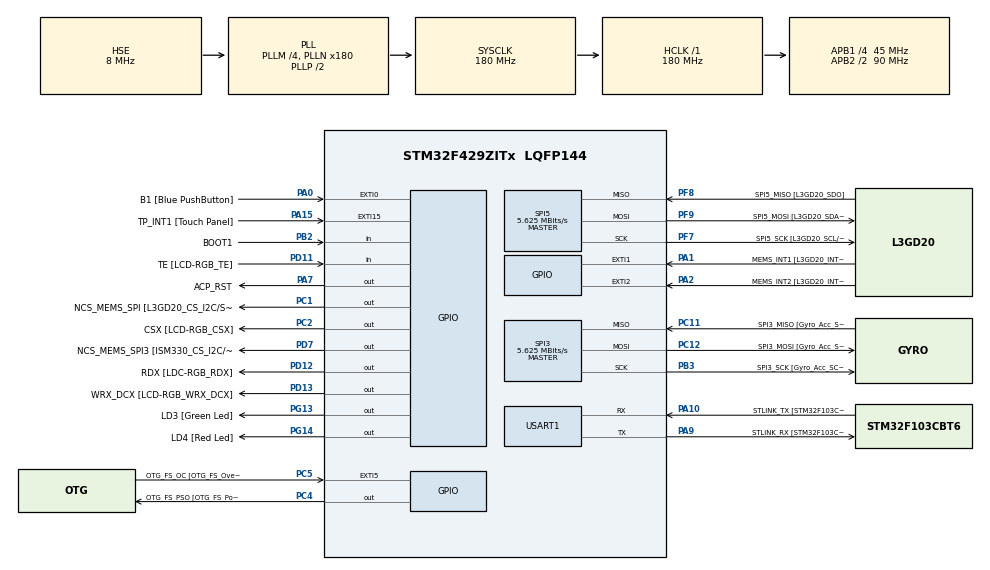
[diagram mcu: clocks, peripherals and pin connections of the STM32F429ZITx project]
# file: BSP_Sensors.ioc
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Mcu.Family=STM32F4
Mcu.Name=STM32F429ZITx
Mcu.Package=LQFP144
NVIC.PriorityGroup=NVIC_PRIORITYGROUP_0
NVIC.TIM6_DAC_IRQn=true\:0\:0\:false\:false\:true\:true\:true\:true
PA0/WKUP.GPIO_Label=B1 [Blue PushButton]
PA0/WKUP.GPIO_ModeDefaultEXTI=GPIO_MODE_EVT_RISING
PA0/WKUP.GPIO_PuPd=GPIO_NOPULL
PA0/WKUP.Signal=GPXTI0
PA1.GPIO_Label=MEMS_INT1 [L3GD20_INT1]
PA1.GPIO_ModeDefaultEXTI=GPIO_MODE_EVT_RISING
PA1.GPIO_PuPd=GPIO_NOPULL
PA1.Signal=GPXTI1
PA10.GPIO_Label=STLINK_TX [STM32F103CBT6_PA2]
PA10.GPIO_Speed=GPIO_SPEED_FREQ_LOW
PA10.Mode=Asynchronous
PA10.Signal=USART1_RX
PA11.GPIO_Label=R4
PA11.GPIO_Mode=GPIO_MODE_AF_PP
PA11.GPIO_PuPd=GPIO_NOPULL
PA11.GPIO_Speed=GPIO_SPEED_FREQ_LOW
PA11.Signal=LTDC_R4
PA12.GPIO_Label=R5
PA12.GPIO_Mode=GPIO_MODE_AF_PP
PA12.GPIO_PuPd=GPIO_NOPULL
PA12.GPIO_Speed=GPIO_SPEED_FREQ_LOW
PA12.Signal=LTDC_R5
PA13.GPIO_Label=SWDIO
PA13.Signal=SYS_JTMS-SWDIO
PA14.GPIO_Label=SWCLK
PA14.Signal=SYS_JTCK-SWCLK
PA15.GPIO_Label=TP_INT1 [Touch Panel]
PA15.GPIO_ModeDefaultEXTI=GPIO_MODE_EVT_RISING
PA15.GPIO_PuPd=GPIO_NOPULL
PA15.Signal=GPXTI15
PA2.GPIO_Label=MEMS_INT2 [L3GD20_INT2]
PA2.GPIO_ModeDefaultEXTI=GPIO_MODE_EVT_RISING
PA2.GPIO_PuPd=GPIO_NOPULL
PA2.Signal=GPXTI2
PA3.GPIO_Label=B5
PA3.GPIO_Mode=GPIO_MODE_AF_PP
PA3.GPIO_PuPd=GPIO_NOPULL
PA3.GPIO_Speed=GPIO_SPEED_FREQ_LOW
PA3.Signal=LTDC_B5
PA4.GPIO_Label=VSYNC
PA4.GPIO_Mode=GPIO_MODE_AF_PP
PA4.GPIO_PuPd=GPIO_NOPULL
PA4.GPIO_Speed=GPIO_SPEED_FREQ_LOW
PA4.Signal=LTDC_VSYNC
PA6.GPIO_Label=G2
PA6.GPIO_Mode=GPIO_MODE_AF_PP
PA6.GPIO_PuPd=GPIO_NOPULL
PA6.GPIO_Speed=GPIO_SPEED_FREQ_LOW
PA6.Signal=LTDC_G2
PA7.GPIO_Label=ACP_RST
PA7.GPIO_Mode=GPIO_MODE_OUTPUT_PP
PA7.GPIO_PuPd=GPIO_NOPULL
PA7.GPIO_Speed=GPIO_SPEED_FREQ_LOW
PA7.Signal=GPIO_Output
PA8.GPIO_Label=I2C3_SCL [ACP/RF_SCL]
PA8.GPIO_Mode=GPIO_MODE_AF_OD
PA8.GPIO_PuPd=GPIO_NOPULL
PA8.GPIO_Speed=GPIO_SPEED_FREQ_LOW
PA8.Signal=I2C3_SCL
PA9.GPIO_Label=STLINK_RX [STM32F103CBT6_PA3]
PA9.GPIO_Speed=GPIO_SPEED_FREQ_LOW
PA9.Mode=Asynchronous
PA9.Signal=USART1_TX
PB0.GPIO_Label=R3
PB0.GPIO_Mode=GPIO_MODE_AF_PP
PB0.GPIO_PuPd=GPIO_NOPULL
PB0.GPIO_Speed=GPIO_SPEED_FREQ_LOW
PB0.Signal=LTDC_R3
PB1.GPIO_Label=R6
PB1.GPIO_Mode=GPIO_MODE_AF_PP
PB1.GPIO_PuPd=GPIO_NOPULL
PB1.GPIO_Speed=GPIO_SPEED_FREQ_LOW
PB1.Signal=LTDC_R6
PB10.GPIO_Label=G4
PB10.GPIO_Mode=GPIO_MODE_AF_PP
PB10.GPIO_PuPd=GPIO_NOPULL
PB10.GPIO_Speed=GPIO_SPEED_FREQ_LOW
PB10.Signal=LTDC_G4
PB11.GPIO_Label=G5
PB11.GPIO_Mode=GPIO_MODE_AF_PP
PB11.GPIO_PuPd=GPIO_NOPULL
PB11.GPIO_Speed=GPIO_SPEED_FREQ_LOW
PB11.Signal=LTDC_G5
PB12.GPIO_Label=OTG_HS_ID
PB12.GPIO_Mode=GPIO_MODE_AF_PP
PB12.GPIO_PuPd=GPIO_NOPULL
PB12.GPIO_Speed=GPIO_SPEED_FREQ_LOW
PB12.Signal=USB_OTG_HS_ID
PB13.GPIO_Label=VBUS_HS
PB13.GPIO_Mode=GPIO_MODE_INPUT
PB13.GPIO_PuPd=GPIO_NOPULL
PB13.Signal=USB_OTG_HS_VBUS
PB14.GPIO_Label=OTG_HS_DM
PB14.GPIO_Mode=GPIO_MODE_AF_PP
PB14.GPIO_PuPd=GPIO_NOPULL
PB14.GPIO_Speed=GPIO_SPEED_FREQ_LOW
PB14.Signal=USB_OTG_HS_DM
PB15.GPIO_Label=OTG_HS_DP
PB15.GPIO_Mode=GPIO_MODE_AF_PP
PB15.GPIO_PuPd=GPIO_NOPULL
PB15.GPIO_Speed=GPIO_SPEED_FREQ_LOW
PB15.Signal=USB_OTG_HS_DP
PB2/BOOT1.GPIO_Label=BOOT1
PB2/BOOT1.GPIO_Mode=GPIO_MODE_INPUT
PB2/BOOT1.GPIO_PuPd=GPIO_NOPULL
PB2/BOOT1.Signal=GPIO_Input
PB3.GPIO_Label=SPI3_SCK [Gyro_Acc_SCL]
PB3.GPIO_Speed=GPIO_SPEED_FREQ_LOW
PB3.Mode=Full_Duplex_Master
PB3.Signal=SPI3_SCK
PB5.GPIO_Label=SDCKE1
PB5.GPIO_Mode=GPIO_MODE_AF_PP
PB5.GPIO_PuPd=GPIO_NOPULL
PB5.GPIO_Speed=GPIO_SPEED_FREQ_VERY_HIGH
PB5.Signal=FMC_SDCKE1
PB6.GPIO_Label=SDNE1 [SDRAM_CS]
PB6.GPIO_Mode=GPIO_MODE_AF_PP
PB6.GPIO_PuPd=GPIO_NOPULL
PB6.GPIO_Speed=GPIO_SPEED_FREQ_VERY_HIGH
PB6.Signal=FMC_SDNE1
PB8.GPIO_Label=B6
PB8.GPIO_Mode=GPIO_MODE_AF_PP
PB8.GPIO_PuPd=GPIO_NOPULL
PB8.GPIO_Speed=GPIO_SPEED_FREQ_LOW
PB8.Signal=LTDC_B6
PB9.GPIO_Label=B7
PB9.GPIO_Mode=GPIO_MODE_AF_PP
PB9.GPIO_PuPd=GPIO_NOPULL
PB9.GPIO_Speed=GPIO_SPEED_FREQ_LOW
PB9.Signal=LTDC_B7
PC0.GPIO_Label=SDNWE
PC0.GPIO_Mode=GPIO_MODE_AF_PP
PC0.GPIO_PuPd=GPIO_NOPULL
PC0.GPIO_Speed=GPIO_SPEED_FREQ_VERY_HIGH
PC0.Signal=FMC_SDNWE
PC1.GPIO_Label=NCS_MEMS_SPI [L3GD20_CS_I2C/SPI]
PC1.GPIO_Mode=GPIO_MODE_OUTPUT_PP
PC1.GPIO_PuPd=GPIO_NOPULL
PC1.GPIO_Speed=GPIO_SPEED_FREQ_LOW
PC1.PinState=GPIO_PIN_SET
PC1.Signal=GPIO_Output
PC10.GPIO_Label=R2
PC10.GPIO_Mode=GPIO_MODE_AF_PP
PC10.GPIO_PuPd=GPIO_NOPULL
PC10.GPIO_Speed=GPIO_SPEED_FREQ_LOW
PC10.Signal=LTDC_R2
PC11.GPIO_Label=SPI3_MISO [Gyro_Acc_SDO]
PC11.GPIO_Speed=GPIO_SPEED_FREQ_LOW
PC11.Mode=Full_Duplex_Master
PC11.Signal=SPI3_MISO
PC12.GPIO_Label=SPI3_MOSI [Gyro_Acc_SDA/SDI/SDO]
PC12.GPIO_Speed=GPIO_SPEED_FREQ_LOW
PC12.Mode=Full_Duplex_Master
PC12.Signal=SPI3_MOSI
PC14/OSC32_IN.GPIO_Label=PC14-OSC32_IN
PC14/OSC32_IN.Signal=RCC_OSC32_IN
PC15/OSC32_OUT.GPIO_Label=PC15-OSC32_OUT
PC15/OSC32_OUT.Signal=RCC_OSC32_OUT
PC2.GPIO_Label=CSX [LCD-RGB_CSX]
PC2.GPIO_Mode=GPIO_MODE_OUTPUT_PP
PC2.GPIO_PuPd=GPIO_NOPULL
PC2.GPIO_Speed=GPIO_SPEED_FREQ_LOW
PC2.Signal=GPIO_Output
PC4.GPIO_Label=OTG_FS_PSO [OTG_FS_PowerSwitchOn]
PC4.GPIO_Mode=GPIO_MODE_OUTPUT_PP
PC4.GPIO_PuPd=GPIO_NOPULL
PC4.GPIO_Speed=GPIO_SPEED_FREQ_LOW
PC4.Signal=GPIO_Output
PC5.GPIO_Label=OTG_FS_OC [OTG_FS_OverCurrent]
PC5.GPIO_ModeDefaultEXTI=GPIO_MODE_EVT_RISING
PC5.Signal=GPXTI5
PC6.GPIO_Label=HSYNC
PC6.GPIO_Mode=GPIO_MODE_AF_PP
PC6.GPIO_PuPd=GPIO_NOPULL
PC6.GPIO_Speed=GPIO_SPEED_FREQ_LOW
PC6.Signal=LTDC_HSYNC
PC7.GPIO_Label=G6
PC7.GPIO_Mode=GPIO_MODE_AF_PP
PC7.GPIO_PuPd=GPIO_NOPULL
PC7.GPIO_Speed=GPIO_SPEED_FREQ_LOW
PC7.Signal=LTDC_G6
PC9.GPIO_Label=I2C3_SDA [ACP/RF_SDA]
PC9.GPIO_Mode=GPIO_MODE_AF_OD
PC9.GPIO_PuPd=GPIO_NOPULL
PC9.GPIO_Speed=GPIO_SPEED_FREQ_LOW
PC9.Signal=I2C3_SDA
PD0.GPIO_Label=D2
PD0.GPIO_Mode=GPIO_MODE_AF_PP
PD0.GPIO_PuPd=GPIO_NOPULL
PD0.GPIO_Speed=GPIO_SPEED_FREQ_VERY_HIGH
PD0.Signal=FMC_D2_DA2
PD1.GPIO_Label=D3
PD1.GPIO_Mode=GPIO_MODE_AF_PP
PD1.GPIO_PuPd=GPIO_NOPULL
PD1.GPIO_Speed=GPIO_SPEED_FREQ_VERY_HIGH
PD1.Signal=FMC_D3_DA3
PD10.GPIO_Label=D15
PD10.GPIO_Mode=GPIO_MODE_AF_PP
PD10.GPIO_PuPd=GPIO_NOPULL
PD10.GPIO_Speed=GPIO_SPEED_FREQ_VERY_HIGH
PD10.Signal=FMC_D15_DA15
PD11.GPIO_Label=TE [LCD-RGB_TE]
PD11.GPIO_Mode=GPIO_MODE_INPUT
PD11.GPIO_PuPd=GPIO_NOPULL
PD11.Signal=GPIO_Input
PD12.GPIO_Label=RDX [LDC-RGB_RDX]
PD12.GPIO_Mode=GPIO_MODE_OUTPUT_PP
PD12.GPIO_PuPd=GPIO_NOPULL
PD12.GPIO_Speed=GPIO_SPEED_FREQ_LOW
PD12.Signal=GPIO_Output
PD13.GPIO_Label=WRX_DCX [LCD-RGB_WRX_DCX]
PD13.GPIO_Mode=GPIO_MODE_OUTPUT_PP
PD13.GPIO_PuPd=GPIO_NOPULL
PD13.GPIO_Speed=GPIO_SPEED_FREQ_LOW
PD13.Signal=GPIO_Output
PD14.GPIO_Label=D0
PD14.GPIO_Mode=GPIO_MODE_AF_PP
PD14.GPIO_PuPd=GPIO_NOPULL
PD14.GPIO_Speed=GPIO_SPEED_FREQ_VERY_HIGH
PD14.Signal=FMC_D0_DA0
PD15.GPIO_Label=D1
PD15.GPIO_Mode=GPIO_MODE_AF_PP
PD15.GPIO_PuPd=GPIO_NOPULL
PD15.GPIO_Speed=GPIO_SPEED_FREQ_VERY_HIGH
PD15.Signal=FMC_D1_DA1
PD3.GPIO_Label=G7
PD3.GPIO_Mode=GPIO_MODE_AF_PP
PD3.GPIO_PuPd=GPIO_NOPULL
PD3.GPIO_Speed=GPIO_SPEED_FREQ_LOW
PD3.Signal=LTDC_G7
PD6.GPIO_Label=B2
PD6.GPIO_Mode=GPIO_MODE_AF_PP
PD6.GPIO_PuPd=GPIO_NOPULL
PD6.GPIO_Speed=GPIO_SPEED_FREQ_LOW
PD6.Signal=LTDC_B2
PD7.GPIO_Label=NCS_MEMS_SPI3 [ISM330_CS_I2C/SPI]
PD7.GPIO_Speed=GPIO_SPEED_FREQ_LOW
PD7.PinState=GPIO_PIN_SET
PD7.Signal=GPIO_Output
PD8.GPIO_Label=D13
PD8.GPIO_Mode=GPIO_MODE_AF_PP
PD8.GPIO_PuPd=GPIO_NOPULL
PD8.GPIO_Speed=GPIO_SPEED_FREQ_VERY_HIGH
PD8.Signal=FMC_D13_DA13
PD9.GPIO_Label=D14
PD9.GPIO_Mode=GPIO_MODE_AF_PP
PD9.GPIO_PuPd=GPIO_NOPULL
PD9.GPIO_Speed=GPIO_SPEED_FREQ_VERY_HIGH
PD9.Signal=FMC_D14_DA14
PE0.GPIO_Label=NBL0 [SDRAM_LDQM]
PE0.GPIO_Mode=GPIO_MODE_AF_PP
PE0.GPIO_PuPd=GPIO_NOPULL
PE0.GPIO_Speed=GPIO_SPEED_FREQ_VERY_HIGH
PE0.Signal=FMC_NBL0
PE1.GPIO_Label=NBL1 [SDRAM_UDQM]
PE1.GPIO_Mode=GPIO_MODE_AF_PP
PE1.GPIO_PuPd=GPIO_NOPULL
PE1.GPIO_Speed=GPIO_SPEED_FREQ_VERY_HIGH
PE1.Signal=FMC_NBL1
PE10.GPIO_Label=D7
PE10.GPIO_Mode=GPIO_MODE_AF_PP
PE10.GPIO_PuPd=GPIO_NOPULL
PE10.GPIO_Speed=GPIO_SPEED_FREQ_VERY_HIGH
PE10.Signal=FMC_D7_DA7
PE11.GPIO_Label=D8
PE11.GPIO_Mode=GPIO_MODE_AF_PP
PE11.GPIO_PuPd=GPIO_NOPULL
PE11.GPIO_Speed=GPIO_SPEED_FREQ_VERY_HIGH
PE11.Signal=FMC_D8_DA8
PE12.GPIO_Label=D9
PE12.GPIO_Mode=GPIO_MODE_AF_PP
PE12.GPIO_PuPd=GPIO_NOPULL
PE12.GPIO_Speed=GPIO_SPEED_FREQ_VERY_HIGH
PE12.Signal=FMC_D9_DA9
PE13.GPIO_Label=D10
PE13.GPIO_Mode=GPIO_MODE_AF_PP
PE13.GPIO_PuPd=GPIO_NOPULL
PE13.GPIO_Speed=GPIO_SPEED_FREQ_VERY_HIGH
PE13.Signal=FMC_D10_DA10
PE14.GPIO_Label=D11
PE14.GPIO_Mode=GPIO_MODE_AF_PP
PE14.GPIO_PuPd=GPIO_NOPULL
PE14.GPIO_Speed=GPIO_SPEED_FREQ_VERY_HIGH
PE14.Signal=FMC_D11_DA11
PE15.GPIO_Label=D12
PE15.GPIO_Mode=GPIO_MODE_AF_PP
PE15.GPIO_PuPd=GPIO_NOPULL
PE15.GPIO_Speed=GPIO_SPEED_FREQ_VERY_HIGH
PE15.Signal=FMC_D12_DA12
PE7.GPIO_Label=D4
PE7.GPIO_Mode=GPIO_MODE_AF_PP
PE7.GPIO_PuPd=GPIO_NOPULL
PE7.GPIO_Speed=GPIO_SPEED_FREQ_VERY_HIGH
PE7.Signal=FMC_D4_DA4
PE8.GPIO_Label=D5
PE8.GPIO_Mode=GPIO_MODE_AF_PP
PE8.GPIO_PuPd=GPIO_NOPULL
PE8.GPIO_Speed=GPIO_SPEED_FREQ_VERY_HIGH
PE8.Signal=FMC_D5_DA5
PE9.GPIO_Label=D6
PE9.GPIO_Mode=GPIO_MODE_AF_PP
PE9.GPIO_PuPd=GPIO_NOPULL
PE9.GPIO_Speed=GPIO_SPEED_FREQ_VERY_HIGH
PE9.Signal=FMC_D6_DA6
PF0.GPIO_Label=A0
PF0.GPIO_Mode=GPIO_MODE_AF_PP
PF0.GPIO_PuPd=GPIO_NOPULL
PF0.GPIO_Speed=GPIO_SPEED_FREQ_VERY_HIGH
PF0.Signal=FMC_A0
PF1.GPIO_Label=A1
PF1.GPIO_Mode=GPIO_MODE_AF_PP
PF1.GPIO_PuPd=GPIO_NOPULL
PF1.GPIO_Speed=GPIO_SPEED_FREQ_VERY_HIGH
PF1.Signal=FMC_A1
PF10.GPIO_Label=ENABLE [LCD-RGB_ENABLE]
PF10.GPIO_Mode=GPIO_MODE_AF_PP
PF10.GPIO_PuPd=GPIO_NOPULL
PF10.GPIO_Speed=GPIO_SPEED_FREQ_LOW
PF10.Signal=LTDC_DE
PF11.GPIO_Label=SDNRAS
PF11.GPIO_Mode=GPIO_MODE_AF_PP
PF11.GPIO_PuPd=GPIO_NOPULL
PF11.GPIO_Speed=GPIO_SPEED_FREQ_VERY_HIGH
PF11.Signal=FMC_SDNRAS
PF12.GPIO_Label=A6
PF12.GPIO_Mode=GPIO_MODE_AF_PP
PF12.GPIO_PuPd=GPIO_NOPULL
PF12.GPIO_Speed=GPIO_SPEED_FREQ_VERY_HIGH
PF12.Signal=FMC_A6
PF13.GPIO_Label=A7
PF13.GPIO_Mode=GPIO_MODE_AF_PP
PF13.GPIO_PuPd=GPIO_NOPULL
PF13.GPIO_Speed=GPIO_SPEED_FREQ_VERY_HIGH
PF13.Signal=FMC_A7
PF14.GPIO_Label=A8
PF14.GPIO_Mode=GPIO_MODE_AF_PP
PF14.GPIO_PuPd=GPIO_NOPULL
PF14.GPIO_Speed=GPIO_SPEED_FREQ_VERY_HIGH
PF14.Signal=FMC_A8
PF15.GPIO_Label=A9
PF15.GPIO_Mode=GPIO_MODE_AF_PP
PF15.GPIO_PuPd=GPIO_NOPULL
PF15.GPIO_Speed=GPIO_SPEED_FREQ_VERY_HIGH
PF15.Signal=FMC_A9
PF2.GPIO_Label=A2
PF2.GPIO_Mode=GPIO_MODE_AF_PP
PF2.GPIO_PuPd=GPIO_NOPULL
PF2.GPIO_Speed=GPIO_SPEED_FREQ_VERY_HIGH
PF2.Signal=FMC_A2
PF3.GPIO_Label=A3
PF3.GPIO_Mode=GPIO_MODE_AF_PP
PF3.GPIO_PuPd=GPIO_NOPULL
PF3.GPIO_Speed=GPIO_SPEED_FREQ_VERY_HIGH
PF3.Signal=FMC_A3
PF4.GPIO_Label=A4
PF4.GPIO_Mode=GPIO_MODE_AF_PP
PF4.GPIO_PuPd=GPIO_NOPULL
PF4.GPIO_Speed=GPIO_SPEED_FREQ_VERY_HIGH
PF4.Signal=FMC_A4
PF5.GPIO_Label=A5
PF5.GPIO_Mode=GPIO_MODE_AF_PP
PF5.GPIO_PuPd=GPIO_NOPULL
PF5.GPIO_Speed=GPIO_SPEED_FREQ_VERY_HIGH
PF5.Signal=FMC_A5
PF7.GPIO_Label=SPI5_SCK [L3GD20_SCL/SPC]
PF7.GPIO_Mode=GPIO_MODE_AF_PP
PF7.GPIO_PuPd=GPIO_NOPULL
PF7.GPIO_Speed=GPIO_SPEED_FREQ_LOW
PF7.Mode=Full_Duplex_Master
PF7.Signal=SPI5_SCK
PF8.GPIO_Label=SPI5_MISO [L3GD20_SDO]
PF8.GPIO_Mode=GPIO_MODE_AF_PP
PF8.GPIO_PuPd=GPIO_NOPULL
PF8.GPIO_Speed=GPIO_SPEED_FREQ_LOW
PF8.Mode=Full_Duplex_Master
PF8.Signal=SPI5_MISO
PF9.GPIO_Label=SPI5_MOSI [L3GD20_SDA/SDI/SDO]
PF9.GPIO_Mode=GPIO_MODE_AF_PP
PF9.GPIO_PuPd=GPIO_NOPULL
PF9.GPIO_Speed=GPIO_SPEED_FREQ_LOW
PF9.Mode=Full_Duplex_Master
PF9.Signal=SPI5_MOSI
PG0.GPIO_Label=A10
PG0.GPIO_Mode=GPIO_MODE_AF_PP
PG0.GPIO_PuPd=GPIO_NOPULL
PG0.GPIO_Speed=GPIO_SPEED_FREQ_VERY_HIGH
PG0.Signal=FMC_A10
PG1.GPIO_Label=A11
PG1.GPIO_Mode=GPIO_MODE_AF_PP
PG1.GPIO_PuPd=GPIO_NOPULL
PG1.GPIO_Speed=GPIO_SPEED_FREQ_VERY_HIGH
PG1.Signal=FMC_A11
PG10.GPIO_Label=G3
PG10.GPIO_Mode=GPIO_MODE_AF_PP
PG10.GPIO_PuPd=GPIO_NOPULL
PG10.GPIO_Speed=GPIO_SPEED_FREQ_LOW
PG10.Signal=LTDC_G3
PG11.GPIO_Label=B3
PG11.GPIO_Mode=GPIO_MODE_AF_PP
PG11.GPIO_PuPd=GPIO_NOPULL
PG11.GPIO_Speed=GPIO_SPEED_FREQ_LOW
PG11.Signal=LTDC_B3
PG12.GPIO_Label=B4
PG12.GPIO_Mode=GPIO_MODE_AF_PP
PG12.GPIO_PuPd=GPIO_NOPULL
PG12.GPIO_Speed=GPIO_SPEED_FREQ_LOW
PG12.Signal=LTDC_B4
PG13.GPIO_Label=LD3 [Green Led]
PG13.GPIO_Mode=GPIO_MODE_OUTPUT_PP
PG13.GPIO_PuPd=GPIO_NOPULL
PG13.GPIO_Speed=GPIO_SPEED_FREQ_LOW
PG13.Signal=GPIO_Output
PG14.GPIO_Label=LD4 [Red Led]
PG14.GPIO_Mode=GPIO_MODE_OUTPUT_PP
PG14.GPIO_PuPd=GPIO_NOPULL
PG14.GPIO_Speed=GPIO_SPEED_FREQ_LOW
PG14.Signal=GPIO_Output
PG15.GPIO_Label=SDNCAS
PG15.GPIO_Mode=GPIO_MODE_AF_PP
PG15.GPIO_PuPd=GPIO_NOPULL
PG15.GPIO_Speed=GPIO_SPEED_FREQ_VERY_HIGH
PG15.Signal=FMC_SDNCAS
PG4.GPIO_Label=BA0
PG4.GPIO_Mode=GPIO_MODE_AF_PP
PG4.GPIO_PuPd=GPIO_NOPULL
PG4.GPIO_Speed=GPIO_SPEED_FREQ_VERY_HIGH
PG4.Signal=FMC_A14_BA0
PG5.GPIO_Label=BA1
PG5.GPIO_Mode=GPIO_MODE_AF_PP
PG5.GPIO_PuPd=GPIO_NOPULL
PG5.GPIO_Speed=GPIO_SPEED_FREQ_VERY_HIGH
PG5.Signal=FMC_A15_BA1
PG6.GPIO_Label=R7
PG6.GPIO_Mode=GPIO_MODE_AF_PP
PG6.GPIO_PuPd=GPIO_NOPULL
PG6.GPIO_Speed=GPIO_SPEED_FREQ_LOW
PG6.Signal=LTDC_R7
PG7.GPIO_Label=DOTCLK [LCT-RGB_DOTCLK]
PG7.GPIO_Mode=GPIO_MODE_AF_PP
PG7.GPIO_PuPd=GPIO_NOPULL
PG7.GPIO_Speed=GPIO_SPEED_FREQ_LOW
PG7.Signal=LTDC_CLK
PG8.GPIO_Label=SDCLK
PG8.GPIO_Mode=GPIO_MODE_AF_PP
PG8.GPIO_PuPd=GPIO_NOPULL
PG8.GPIO_Speed=GPIO_SPEED_FREQ_VERY_HIGH
PG8.Signal=FMC_SDCLK
PH0/OSC_IN.GPIO_Label=PH0-OSC_IN
PH0/OSC_IN.Mode=HSE-External-Oscillator
PH0/OSC_IN.Signal=RCC_OSC_IN
PH1/OSC_OUT.GPIO_Label=PH1-OSC_OUT
PH1/OSC_OUT.Mode=HSE-External-Oscillator
PH1/OSC_OUT.Signal=RCC_OSC_OUT
ProjectManager.HeapSize=0x200
ProjectManager.StackSize=0x400
ProjectManager.TargetToolchain=STM32CubeIDE
RCC.48MHZClocksFreq_Value=51428571.428571425
RCC.AHBFreq_Value=180000000
RCC.APB1CLKDivider=RCC_HCLK_DIV4
RCC.APB1Freq_Value=45000000
RCC.APB1TimFreq_Value=90000000
RCC.APB2CLKDivider=RCC_HCLK_DIV2
RCC.APB2Freq_Value=90000000
RCC.APB2TimFreq_Value=180000000
RCC.CortexFreq_Value=180000000
RCC.HCLKFreq_Value=180000000
RCC.HSE_VALUE=8000000
RCC.HSI_VALUE=16000000
RCC.LSE_VALUE=32768
RCC.PLLM=4
RCC.PLLN=180
RCC.PLLQ=7
RCC.PLLSourceVirtual=RCC_PLLSOURCE_HSE
RCC.SYSCLKFreq_VALUE=180000000
RCC.SYSCLKSource=RCC_SYSCLKSOURCE_PLLCLK
RCC.VCOOutputFreq_Value=360000000
SH.FMC_A0.0=FMC_A0
SH.FMC_A1.0=FMC_A1
SH.FMC_A10.0=FMC_A10
SH.FMC_A11.0=FMC_A11
SH.FMC_A14_BA0.0=FMC_BA0
SH.FMC_A15_BA1.0=FMC_BA1
SH.FMC_A2.0=FMC_A2
SH.FMC_A3.0=FMC_A3
SH.FMC_A4.0=FMC_A4
SH.FMC_A5.0=FMC_A5
SH.FMC_A6.0=FMC_A6
SH.FMC_A7.0=FMC_A7
SH.FMC_A8.0=FMC_A8
SH.FMC_A9.0=FMC_A9
SH.FMC_D0_DA0.0=FMC_D0
SH.FMC_D10_DA10.0=FMC_D10
SH.FMC_D11_DA11.0=FMC_D11
SH.FMC_D12_DA12.0=FMC_D12
SH.FMC_D13_DA13.0=FMC_D13
SH.FMC_D14_DA14.0=FMC_D14
SH.FMC_D15_DA15.0=FMC_D15
SH.FMC_D1_DA1.0=FMC_D1
SH.FMC_D2_DA2.0=FMC_D2
SH.FMC_D3_DA3.0=FMC_D3
SH.FMC_D4_DA4.0=FMC_D4
SH.FMC_D5_DA5.0=FMC_D5
SH.FMC_D6_DA6.0=FMC_D6
SH.FMC_D7_DA7.0=FMC_D7
SH.FMC_D8_DA8.0=FMC_D8
SH.FMC_D9_DA9.0=FMC_D9
SH.FMC_NBL0.0=FMC_NBL0
SH.FMC_NBL1.0=FMC_NBL1
SH.FMC_SDCLK.0=FMC_SDCLK
SH.FMC_SDNCAS.0=FMC_SDNCAS
SH.FMC_SDNRAS.0=FMC_SDNRAS
SH.FMC_SDNWE.0=FMC_SDNWE
SPI3.BaudRatePrescaler=SPI_BAUDRATEPRESCALER_8
SPI3.CalculateBaudRate=5.625 MBits/s
SPI3.Direction=SPI_DIRECTION_2LINES
SPI3.Mode=SPI_MODE_MASTER
SPI3.VirtualType=VM_MASTER
SPI5.BaudRatePrescaler=SPI_BAUDRATEPRESCALER_16
SPI5.CLKPolarity=SPI_POLARITY_LOW
SPI5.CalculateBaudRate=5.625 MBits/s
SPI5.Direction=SPI_DIRECTION_2LINES
SPI5.Mode=SPI_MODE_MASTER
SPI5.VirtualType=VM_MASTER
TIM6.AutoReloadPreload=TIM_AUTORELOAD_PRELOAD_ENABLE
TIM6.Period=10000-1
TIM6.Prescaler=90-1
USART1.VirtualMode=VM_ASYNC
VP_TIM6_VS_ClockSourceINT.Mode=Enable_Timer
board=STM32F429I-DISC1

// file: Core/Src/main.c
/* USER CODE BEGIN Header */
/**
  ******************************************************************************
  * @file           : main.c
  * @brief          : Main program body
  ******************************************************************************
  * @attention
  *
  * Copyright (c) 2023 STMicroelectronics.
  * All rights reserved.
  *
  * This software is licensed under terms that can be found in the LICENSE file
  * in the root directory of this software component.
  * If no LICENSE file comes with this software, it is provided AS-IS.
  *
  ******************************************************************************
  */
/* USER CODE END Header */
#include "main.h"

/* USER CODE BEGIN Includes */
#include "stm32f4xx_hal_spi.h"
#include "stm32f4xx_hal_tim.h"
#include "stm32f4xx_hal_gpio.h"
#include "stm32f429i_discovery_Gyro_Acc.h"
/* USER CODE END Includes */

SPI_HandleTypeDef hspi3;
SPI_HandleTypeDef hspi5;

TIM_HandleTypeDef htim6;

UART_HandleTypeDef huart1;

/* USER CODE BEGIN PV */
typedef struct
{
	uint32_t interrupt_counter;
	uint32_t loop_counter;
	uint32_t id_failure;
}debug;
extern debug Debugvariable;
/* USER CODE END PV */

void SystemClock_Config(void);
static void MX_GPIO_Init(void);
static void MX_SPI3_Init(void);
static void MX_SPI5_Init(void);
static void MX_USART1_UART_Init(void);
static void MX_TIM6_Init(void);

/* USER CODE BEGIN 0 */
void ism330dlc_self_test(void);
void ism330dlc_read_data_polling(void);
/* USER CODE END 0 */

int main(void)
{

  /* MCU Configuration--------------------------------------------------------*/

  /* Reset of all peripherals, Initializes the Flash interface and the Systick. */
  HAL_Init();

  /* Configure the system clock */
  SystemClock_Config();

  /* Initialize all configured peripherals */
  MX_GPIO_Init();
  MX_SPI3_Init();
  MX_SPI5_Init();
  MX_USART1_UART_Init();
  MX_TIM6_Init();
  /* USER CODE BEGIN 2 */

  //BSP_GYRO_Init_task();

  //TODO creat a test file/folder for unite test
  //ism330dlc_read_data_polling();
  //ism330dlc_self_test();

  // Init ism330dlc 3D Gyro 3D Acc
  BSP_ISM330_GYRO_ACC_Init_task();

  HAL_TIM_Base_Start_IT(&htim6);
  /* USER CODE END 2 */

  /* Infinite loop */
  /* USER CODE BEGIN WHILE */
	while (1)
	{
		//BSP_GYRO_Init_task();
		//HAL_Delay(100);
    /* USER CODE END WHILE */

	}
}

void SystemClock_Config(void)
{
  RCC_OscInitTypeDef RCC_OscInitStruct = {0};
  RCC_ClkInitTypeDef RCC_ClkInitStruct = {0};

  /** Configure the main internal regulator output voltage
  */
  __HAL_RCC_PWR_CLK_ENABLE();
  __HAL_PWR_VOLTAGESCALING_CONFIG(PWR_REGULATOR_VOLTAGE_SCALE1);

  /** Initializes the RCC Oscillators according to the specified parameters
  * in the RCC_OscInitTypeDef structure.
  */
  RCC_OscInitStruct.OscillatorType = RCC_OSCILLATORTYPE_HSE;
  RCC_OscInitStruct.HSEState = RCC_HSE_ON;
  RCC_OscInitStruct.PLL.PLLState = RCC_PLL_ON;
  RCC_OscInitStruct.PLL.PLLSource = RCC_PLLSOURCE_HSE;
  RCC_OscInitStruct.PLL.PLLM = 4;
  RCC_OscInitStruct.PLL.PLLN = 180;
  RCC_OscInitStruct.PLL.PLLP = RCC_PLLP_DIV2;
  RCC_OscInitStruct.PLL.PLLQ = 7;
  if (HAL_RCC_OscConfig(&RCC_OscInitStruct) != HAL_OK)
  {
    Error_Handler();
  }

  /** Activate the Over-Drive mode
  */
  if (HAL_PWREx_EnableOverDrive() != HAL_OK)
  {
    Error_Handler();
  }

  /** Initializes the CPU, AHB and APB buses clocks
  */
  RCC_ClkInitStruct.ClockType = RCC_CLOCKTYPE_HCLK|RCC_CLOCKTYPE_SYSCLK
                              |RCC_CLOCKTYPE_PCLK1|RCC_CLOCKTYPE_PCLK2;
  RCC_ClkInitStruct.SYSCLKSource = RCC_SYSCLKSOURCE_PLLCLK;
  RCC_ClkInitStruct.AHBCLKDivider = RCC_SYSCLK_DIV1;
  RCC_ClkInitStruct.APB1CLKDivider = RCC_HCLK_DIV4;
  RCC_ClkInitStruct.APB2CLKDivider = RCC_HCLK_DIV2;

  if (HAL_RCC_ClockConfig(&RCC_ClkInitStruct, FLASH_LATENCY_5) != HAL_OK)
  {
    Error_Handler();
  }
}

static void MX_SPI3_Init(void)
{

  /* SPI3 parameter configuration*/
  hspi3.Instance = SPI3;
  hspi3.Init.Mode = SPI_MODE_MASTER;
  hspi3.Init.Direction = SPI_DIRECTION_2LINES;
  hspi3.Init.DataSize = SPI_DATASIZE_8BIT;
  hspi3.Init.CLKPolarity = SPI_POLARITY_LOW;
  hspi3.Init.CLKPhase = SPI_PHASE_1EDGE;
  hspi3.Init.NSS = SPI_NSS_SOFT;
  hspi3.Init.BaudRatePrescaler = SPI_BAUDRATEPRESCALER_8;
  hspi3.Init.FirstBit = SPI_FIRSTBIT_MSB;
  hspi3.Init.TIMode = SPI_TIMODE_DISABLE;
  hspi3.Init.CRCCalculation = SPI_CRCCALCULATION_DISABLE;
  hspi3.Init.CRCPolynomial = 10;
  if (HAL_SPI_Init(&hspi3) != HAL_OK)
  {
    Error_Handler();
  }

}

static void MX_SPI5_Init(void)
{

  /* SPI5 parameter configuration*/
  hspi5.Instance = SPI5;
  hspi5.Init.Mode = SPI_MODE_MASTER;
  hspi5.Init.Direction = SPI_DIRECTION_2LINES;
  hspi5.Init.DataSize = SPI_DATASIZE_8BIT;
  hspi5.Init.CLKPolarity = SPI_POLARITY_LOW;
  hspi5.Init.CLKPhase = SPI_PHASE_1EDGE;
  hspi5.Init.NSS = SPI_NSS_SOFT;
  hspi5.Init.BaudRatePrescaler = SPI_BAUDRATEPRESCALER_16;
  hspi5.Init.FirstBit = SPI_FIRSTBIT_MSB;
  hspi5.Init.TIMode = SPI_TIMODE_DISABLE;
  hspi5.Init.CRCCalculation = SPI_CRCCALCULATION_DISABLE;
  hspi5.Init.CRCPolynomial = 10;
  if (HAL_SPI_Init(&hspi5) != HAL_OK)
  {
    Error_Handler();
  }

}

static void MX_TIM6_Init(void)
{

  TIM_MasterConfigTypeDef sMasterConfig = {0};

  htim6.Instance = TIM6;
  htim6.Init.Prescaler = 90-1;
  htim6.Init.CounterMode = TIM_COUNTERMODE_UP;
  htim6.Init.Period = 10000-1;
  htim6.Init.AutoReloadPreload = TIM_AUTORELOAD_PRELOAD_ENABLE;
  if (HAL_TIM_Base_Init(&htim6) != HAL_OK)
  {
    Error_Handler();
  }
  sMasterConfig.MasterOutputTrigger = TIM_TRGO_RESET;
  sMasterConfig.MasterSlaveMode = TIM_MASTERSLAVEMODE_DISABLE;
  if (HAL_TIMEx_MasterConfigSynchronization(&htim6, &sMasterConfig) != HAL_OK)
  {
    Error_Handler();
  }

}

static void MX_USART1_UART_Init(void)
{

  huart1.Instance = USART1;
  huart1.Init.BaudRate = 115200;
  huart1.Init.WordLength = UART_WORDLENGTH_8B;
  huart1.Init.StopBits = UART_STOPBITS_1;
  huart1.Init.Parity = UART_PARITY_NONE;
  huart1.Init.Mode = UART_MODE_TX_RX;
  huart1.Init.HwFlowCtl = UART_HWCONTROL_NONE;
  huart1.Init.OverSampling = UART_OVERSAMPLING_16;
  if (HAL_UART_Init(&huart1) != HAL_OK)
  {
    Error_Handler();
  }

}

static void MX_GPIO_Init(void)
{
  GPIO_InitTypeDef GPIO_InitStruct = {0};

  /* GPIO Ports Clock Enable */
  __HAL_RCC_GPIOC_CLK_ENABLE();
  __HAL_RCC_GPIOF_CLK_ENABLE();
  __HAL_RCC_GPIOH_CLK_ENABLE();
  __HAL_RCC_GPIOA_CLK_ENABLE();
  __HAL_RCC_GPIOB_CLK_ENABLE();
  __HAL_RCC_GPIOG_CLK_ENABLE();
  __HAL_RCC_GPIOE_CLK_ENABLE();
  __HAL_RCC_GPIOD_CLK_ENABLE();

  /*Configure GPIO pin Output Level */
  HAL_GPIO_WritePin(NCS_MEMS_SPI_GPIO_Port, NCS_MEMS_SPI_Pin, GPIO_PIN_SET);

  /*Configure GPIO pin Output Level */
  HAL_GPIO_WritePin(GPIOC, CSX_Pin|OTG_FS_PSO_Pin, GPIO_PIN_RESET);

  /*Configure GPIO pin Output Level */
  HAL_GPIO_WritePin(ACP_RST_GPIO_Port, ACP_RST_Pin, GPIO_PIN_RESET);

  /*Configure GPIO pin Output Level */
  HAL_GPIO_WritePin(GPIOD, RDX_Pin|WRX_DCX_Pin, GPIO_PIN_RESET);

  /*Configure GPIO pin Output Level */
  HAL_GPIO_WritePin(NCS_MEMS_SPI3_GPIO_Port, NCS_MEMS_SPI3_Pin, GPIO_PIN_SET);

  /*Configure GPIO pin Output Level */
  HAL_GPIO_WritePin(GPIOG, LD3_Pin|LD4_Pin, GPIO_PIN_RESET);

  /*Configure GPIO pins : A0_Pin A1_Pin A2_Pin A3_Pin
                           A4_Pin A5_Pin SDNRAS_Pin A6_Pin
                           A7_Pin A8_Pin A9_Pin */
  GPIO_InitStruct.Pin = A0_Pin|A1_Pin|A2_Pin|A3_Pin
                          |A4_Pin|A5_Pin|SDNRAS_Pin|A6_Pin
                          |A7_Pin|A8_Pin|A9_Pin;
  GPIO_InitStruct.Mode = GPIO_MODE_AF_PP;
  GPIO_InitStruct.Pull = GPIO_NOPULL;
  GPIO_InitStruct.Speed = GPIO_SPEED_FREQ_VERY_HIGH;
  GPIO_InitStruct.Alternate = GPIO_AF12_FMC;
  HAL_GPIO_Init(GPIOF, &GPIO_InitStruct);

  /*Configure GPIO pin : ENABLE_Pin */
  GPIO_InitStruct.Pin = ENABLE_Pin;
  GPIO_InitStruct.Mode = GPIO_MODE_AF_PP;
  GPIO_InitStruct.Pull = GPIO_NOPULL;
  GPIO_InitStruct.Speed = GPIO_SPEED_FREQ_LOW;
  GPIO_InitStruct.Alternate = GPIO_AF14_LTDC;
  HAL_GPIO_Init(ENABLE_GPIO_Port, &GPIO_InitStruct);

  /*Configure GPIO pin : SDNWE_Pin */
  GPIO_InitStruct.Pin = SDNWE_Pin;
  GPIO_InitStruct.Mode = GPIO_MODE_AF_PP;
  GPIO_InitStruct.Pull = GPIO_NOPULL;
  GPIO_InitStruct.Speed = GPIO_SPEED_FREQ_VERY_HIGH;
  GPIO_InitStruct.Alternate = GPIO_AF12_FMC;
  HAL_GPIO_Init(SDNWE_GPIO_Port, &GPIO_InitStruct);

  /*Configure GPIO pins : NCS_MEMS_SPI_Pin CSX_Pin OTG_FS_PSO_Pin */
  GPIO_InitStruct.Pin = NCS_MEMS_SPI_Pin|CSX_Pin|OTG_FS_PSO_Pin;
  GPIO_InitStruct.Mode = GPIO_MODE_OUTPUT_PP;
  GPIO_InitStruct.Pull = GPIO_NOPULL;
  GPIO_InitStruct.Speed = GPIO_SPEED_FREQ_LOW;
  HAL_GPIO_Init(GPIOC, &GPIO_InitStruct);

  /*Configure GPIO pins : B1_Pin MEMS_INT1_Pin MEMS_INT2_Pin TP_INT1_Pin */
  GPIO_InitStruct.Pin = B1_Pin|MEMS_INT1_Pin|MEMS_INT2_Pin|TP_INT1_Pin;
  GPIO_InitStruct.Mode = GPIO_MODE_EVT_RISING;
  GPIO_InitStruct.Pull = GPIO_NOPULL;
  HAL_GPIO_Init(GPIOA, &GPIO_InitStruct);

  /*Configure GPIO pins : B5_Pin VSYNC_Pin G2_Pin R4_Pin
                           R5_Pin */
  GPIO_InitStruct.Pin = B5_Pin|VSYNC_Pin|G2_Pin|R4_Pin
                          |R5_Pin;
  GPIO_InitStruct.Mode = GPIO_MODE_AF_PP;
  GPIO_InitStruct.Pull = GPIO_NOPULL;
  GPIO_InitStruct.Speed = GPIO_SPEED_FREQ_LOW;
  GPIO_InitStruct.Alternate = GPIO_AF14_LTDC;
  HAL_GPIO_Init(GPIOA, &GPIO_InitStruct);

  /*Configure GPIO pin : ACP_RST_Pin */
  GPIO_InitStruct.Pin = ACP_RST_Pin;
  GPIO_InitStruct.Mode = GPIO_MODE_OUTPUT_PP;
  GPIO_InitStruct.Pull = GPIO_NOPULL;
  GPIO_InitStruct.Speed = GPIO_SPEED_FREQ_LOW;
  HAL_GPIO_Init(ACP_RST_GPIO_Port, &GPIO_InitStruct);

  /*Configure GPIO pin : OTG_FS_OC_Pin */
  GPIO_InitStruct.Pin = OTG_FS_OC_Pin;
  GPIO_InitStruct.Mode = GPIO_MODE_EVT_RISING;
  GPIO_InitStruct.Pull = GPIO_NOPULL;
  HAL_GPIO_Init(OTG_FS_OC_GPIO_Port, &GPIO_InitStruct);

  /*Configure GPIO pins : R3_Pin R6_Pin */
  GPIO_InitStruct.Pin = R3_Pin|R6_Pin;
  GPIO_InitStruct.Mode = GPIO_MODE_AF_PP;
  GPIO_InitStruct.Pull = GPIO_NOPULL;
  GPIO_InitStruct.Speed = GPIO_SPEED_FREQ_LOW;
  GPIO_InitStruct.Alternate = GPIO_AF9_LTDC;
  HAL_GPIO_Init(GPIOB, &GPIO_InitStruct);

  /*Configure GPIO pin : BOOT1_Pin */
  GPIO_InitStruct.Pin = BOOT1_Pin;
  GPIO_InitStruct.Mode = GPIO_MODE_INPUT;
  GPIO_InitStruct.Pull = GPIO_NOPULL;
  HAL_GPIO_Init(BOOT1_GPIO_Port, &GPIO_InitStruct);

  /*Configure GPIO pins : A10_Pin A11_Pin BA0_Pin BA1_Pin
                           SDCLK_Pin SDNCAS_Pin */
  GPIO_InitStruct.Pin = A10_Pin|A11_Pin|BA0_Pin|BA1_Pin
                          |SDCLK_Pin|SDNCAS_Pin;
  GPIO_InitStruct.Mode = GPIO_MODE_AF_PP;
  GPIO_InitStruct.Pull = GPIO_NOPULL;
  GPIO_InitStruct.Speed = GPIO_SPEED_FREQ_VERY_HIGH;
  GPIO_InitStruct.Alternate = GPIO_AF12_FMC;
  HAL_GPIO_Init(GPIOG, &GPIO_InitStruct);

  /*Configure GPIO pins : D4_Pin D5_Pin D6_Pin D7_Pin
                           D8_Pin D9_Pin D10_Pin D11_Pin
                           D12_Pin NBL0_Pin NBL1_Pin */
  GPIO_InitStruct.Pin = D4_Pin|D5_Pin|D6_Pin|D7_Pin
                          |D8_Pin|D9_Pin|D10_Pin|D11_Pin
                          |D12_Pin|NBL0_Pin|NBL1_Pin;
  GPIO_InitStruct.Mode = GPIO_MODE_AF_PP;
  GPIO_InitStruct.Pull = GPIO_NOPULL;
  GPIO_InitStruct.Speed = GPIO_SPEED_FREQ_VERY_HIGH;
  GPIO_InitStruct.Alternate = GPIO_AF12_FMC;
  HAL_GPIO_Init(GPIOE, &GPIO_InitStruct);

  /*Configure GPIO pins : G4_Pin G5_Pin B6_Pin B7_Pin */
  GPIO_InitStruct.Pin = G4_Pin|G5_Pin|B6_Pin|B7_Pin;
  GPIO_InitStruct.Mode = GPIO_MODE_AF_PP;
  GPIO_InitStruct.Pull = GPIO_NOPULL;
  GPIO_InitStruct.Speed = GPIO_SPEED_FREQ_LOW;
  GPIO_InitStruct.Alternate = GPIO_AF14_LTDC;
  HAL_GPIO_Init(GPIOB, &GPIO_InitStruct);

  /*Configure GPIO pins : OTG_HS_ID_Pin OTG_HS_DM_Pin OTG_HS_DP_Pin */
  GPIO_InitStruct.Pin = OTG_HS_ID_Pin|OTG_HS_DM_Pin|OTG_HS_DP_Pin;
  GPIO_InitStruct.Mode = GPIO_MODE_AF_PP;
  GPIO_InitStruct.Pull = GPIO_NOPULL;
  GPIO_InitStruct.Speed = GPIO_SPEED_FREQ_LOW;
  GPIO_InitStruct.Alternate = GPIO_AF12_OTG_HS_FS;
  HAL_GPIO_Init(GPIOB, &GPIO_InitStruct);

  /*Configure GPIO pin : VBUS_HS_Pin */
  GPIO_InitStruct.Pin = VBUS_HS_Pin;
  GPIO_InitStruct.Mode = GPIO_MODE_INPUT;
  GPIO_InitStruct.Pull = GPIO_NOPULL;
  HAL_GPIO_Init(VBUS_HS_GPIO_Port, &GPIO_InitStruct);

  /*Configure GPIO pins : D13_Pin D14_Pin D15_Pin D0_Pin
                           D1_Pin D2_Pin D3_Pin */
  GPIO_InitStruct.Pin = D13_Pin|D14_Pin|D15_Pin|D0_Pin
                          |D1_Pin|D2_Pin|D3_Pin;
  GPIO_InitStruct.Mode = GPIO_MODE_AF_PP;
  GPIO_InitStruct.Pull = GPIO_NOPULL;
  GPIO_InitStruct.Speed = GPIO_SPEED_FREQ_VERY_HIGH;
  GPIO_InitStruct.Alternate = GPIO_AF12_FMC;
  HAL_GPIO_Init(GPIOD, &GPIO_InitStruct);

  /*Configure GPIO pin : TE_Pin */
  GPIO_InitStruct.Pin = TE_Pin;
  GPIO_InitStruct.Mode = GPIO_MODE_INPUT;
  GPIO_InitStruct.Pull = GPIO_NOPULL;
  HAL_GPIO_Init(TE_GPIO_Port, &GPIO_InitStruct);

  /*Configure GPIO pins : RDX_Pin WRX_DCX_Pin NCS_MEMS_SPI3_Pin */
  GPIO_InitStruct.Pin = RDX_Pin|WRX_DCX_Pin|NCS_MEMS_SPI3_Pin;
  GPIO_InitStruct.Mode = GPIO_MODE_OUTPUT_PP;
  GPIO_InitStruct.Pull = GPIO_NOPULL;
  GPIO_InitStruct.Speed = GPIO_SPEED_FREQ_LOW;
  HAL_GPIO_Init(GPIOD, &GPIO_InitStruct);

  /*Configure GPIO pins : R7_Pin DOTCLK_Pin B3_Pin */
  GPIO_InitStruct.Pin = R7_Pin|DOTCLK_Pin|B3_Pin;
  GPIO_InitStruct.Mode = GPIO_MODE_AF_PP;
  GPIO_InitStruct.Pull = GPIO_NOPULL;
  GPIO_InitStruct.Speed = GPIO_SPEED_FREQ_LOW;
  GPIO_InitStruct.Alternate = GPIO_AF14_LTDC;
  HAL_GPIO_Init(GPIOG, &GPIO_InitStruct);

  /*Configure GPIO pins : HSYNC_Pin G6_Pin R2_Pin */
  GPIO_InitStruct.Pin = HSYNC_Pin|G6_Pin|R2_Pin;
  GPIO_InitStruct.Mode = GPIO_MODE_AF_PP;
  GPIO_InitStruct.Pull = GPIO_NOPULL;
  GPIO_InitStruct.Speed = GPIO_SPEED_FREQ_LOW;
  GPIO_InitStruct.Alternate = GPIO_AF14_LTDC;
  HAL_GPIO_Init(GPIOC, &GPIO_InitStruct);

  /*Configure GPIO pin : I2C3_SDA_Pin */
  GPIO_InitStruct.Pin = I2C3_SDA_Pin;
  GPIO_InitStruct.Mode = GPIO_MODE_AF_OD;
  GPIO_InitStruct.Pull = GPIO_NOPULL;
  GPIO_InitStruct.Speed = GPIO_SPEED_FREQ_LOW;
  GPIO_InitStruct.Alternate = GPIO_AF4_I2C3;
  HAL_GPIO_Init(I2C3_SDA_GPIO_Port, &GPIO_InitStruct);

  /*Configure GPIO pin : I2C3_SCL_Pin */
  GPIO_InitStruct.Pin = I2C3_SCL_Pin;
  GPIO_InitStruct.Mode = GPIO_MODE_AF_OD;
  GPIO_InitStruct.Pull = GPIO_NOPULL;
  GPIO_InitStruct.Speed = GPIO_SPEED_FREQ_LOW;
  GPIO_InitStruct.Alternate = GPIO_AF4_I2C3;
  HAL_GPIO_Init(I2C3_SCL_GPIO_Port, &GPIO_InitStruct);

  /*Configure GPIO pins : G7_Pin B2_Pin */
  GPIO_InitStruct.Pin = G7_Pin|B2_Pin;
  GPIO_InitStruct.Mode = GPIO_MODE_AF_PP;
  GPIO_InitStruct.Pull = GPIO_NOPULL;
  GPIO_InitStruct.Speed = GPIO_SPEED_FREQ_LOW;
  GPIO_InitStruct.Alternate = GPIO_AF14_LTDC;
  HAL_GPIO_Init(GPIOD, &GPIO_InitStruct);

  /*Configure GPIO pins : G3_Pin B4_Pin */
  GPIO_InitStruct.Pin = G3_Pin|B4_Pin;
  GPIO_InitStruct.Mode = GPIO_MODE_AF_PP;
  GPIO_InitStruct.Pull = GPIO_NOPULL;
  GPIO_InitStruct.Speed = GPIO_SPEED_FREQ_LOW;
  GPIO_InitStruct.Alternate = GPIO_AF9_LTDC;
  HAL_GPIO_Init(GPIOG, &GPIO_InitStruct);

  /*Configure GPIO pins : LD3_Pin LD4_Pin */
  GPIO_InitStruct.Pin = LD3_Pin|LD4_Pin;
  GPIO_InitStruct.Mode = GPIO_MODE_OUTPUT_PP;
  GPIO_InitStruct.Pull = GPIO_NOPULL;
  GPIO_InitStruct.Speed = GPIO_SPEED_FREQ_LOW;
  HAL_GPIO_Init(GPIOG, &GPIO_InitStruct);

  /*Configure GPIO pins : SDCKE1_Pin SDNE1_Pin */
  GPIO_InitStruct.Pin = SDCKE1_Pin|SDNE1_Pin;
  GPIO_InitStruct.Mode = GPIO_MODE_AF_PP;
  GPIO_InitStruct.Pull = GPIO_NOPULL;
  GPIO_InitStruct.Speed = GPIO_SPEED_FREQ_VERY_HIGH;
  GPIO_InitStruct.Alternate = GPIO_AF12_FMC;
  HAL_GPIO_Init(GPIOB, &GPIO_InitStruct);

}

/* USER CODE BEGIN 4 */
void HAL_TIM_PeriodElapsedCallback(TIM_HandleTypeDef *htim)
{
	uint8_t byte;
	uint8_t index;

	if(&htim6 == htim)
	{
		//toglle leds
		HAL_GPIO_TogglePin(LD3_GPIO_Port,LD3_Pin);
		HAL_GPIO_TogglePin(LD4_GPIO_Port,LD4_Pin);
		BSP_GYRO_10ms_Task();
		Debugvariable.interrupt_counter ++;

#if 0
//FIXME
		for (index = 0; index < 10; index++)
		{
			HAL_GPIO_WritePin(NCS_MEMS_SPI3_GPIO_Port, NCS_MEMS_SPI3_Pin, GPIO_PIN_RESET);
			HAL_SPI_Transmit(&hspi3, &index, 1, 1000);
			HAL_GPIO_WritePin(NCS_MEMS_SPI3_GPIO_Port, NCS_MEMS_SPI3_Pin, GPIO_PIN_SET);
		}

#endif

	}
}
/* USER CODE END 4 */

void Error_Handler(void)
{
  __disable_irq();
  while (1)
  {
  }
}
